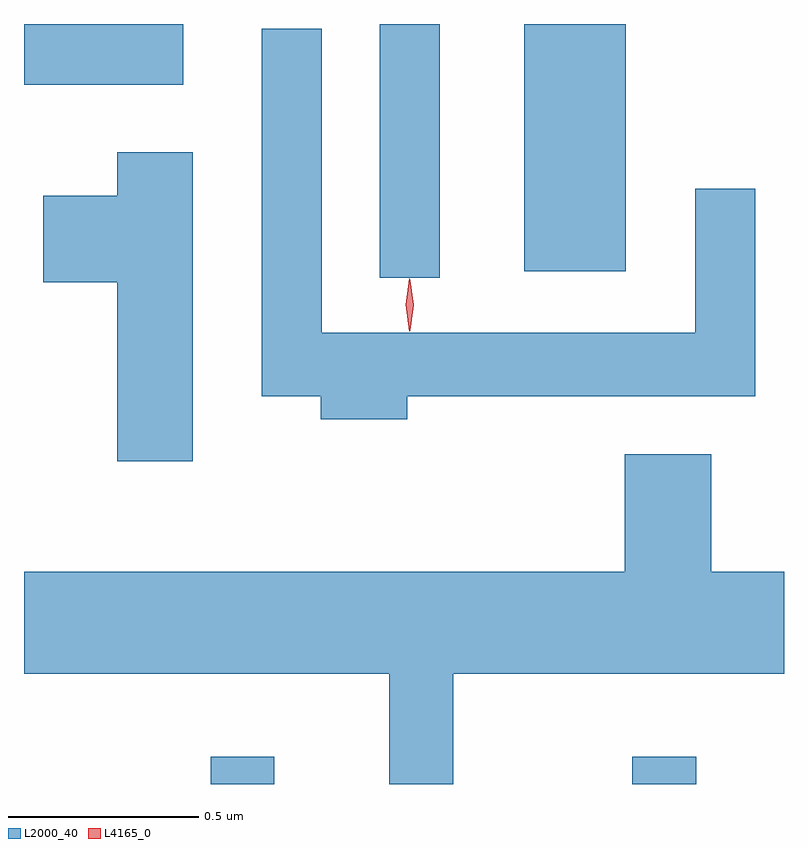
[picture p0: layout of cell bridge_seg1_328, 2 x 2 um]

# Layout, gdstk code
import gdstk
lib = gdstk.Library(unit=1e-6, precision=1e-09)
def R(c, l, rs):  # rectangles x0, y0, x1, y1
    for r in rs: c.add(gdstk.rectangle(r[:2], r[2:], *l))
def P(c, l, *ps):  # polygons
    for p in ps: c.add(gdstk.Polygon(p, *l))
L2000_40 = (2000, 40)
L4165_0 = (4165, 0)

bridge_seg1_328 = lib.new_cell('bridge_seg1_328')
R(bridge_seg1_328, L2000_40, [(883.021,872.646,883.189,872.718), (884.131,872.646,884.299,872.718), (883.466,873.978,883.624,874.646), (883.846,873.996,884.114,874.646), (882.53,874.486,882.949,874.646)])
P(bridge_seg1_328, L2000_40, [(883.539,873.666),(884.454,873.666),(884.454,874.213),(884.296,874.213),(884.296,873.834),(883.314,873.834),(883.314,874.633),(883.156,874.633),(883.156,873.666),(883.311,873.666),(883.311,873.606),(883.539,873.606)],
  [(882.974,874.309),(882.776,874.309),(882.776,874.194),(882.581,874.194),(882.581,873.966),(882.776,873.966),(882.776,873.496),(882.974,873.496)],
  [(883.659,872.936),(884.53,872.936),(884.53,873.204),(884.339,873.204),(884.339,873.514),(884.111,873.514),(884.111,873.204),(882.53,873.204),(882.53,872.936),(883.491,872.936),(883.491,872.646),(883.659,872.646)])
P(bridge_seg1_328, L4165_0, [(883.544,873.837),(883.535,873.907),(883.544,873.976),(883.545,873.976),(883.545,873.976),(883.555,873.907),(883.545,873.837),(883.545,873.837)],
  [(883.546,873.839),(883.545,873.84),(883.536,873.906),(883.545,873.972),(883.546,873.973),(883.546,873.972),(883.556,873.906),(883.546,873.84)])

lib.write_gds('bridge_seg1_328.gds')
